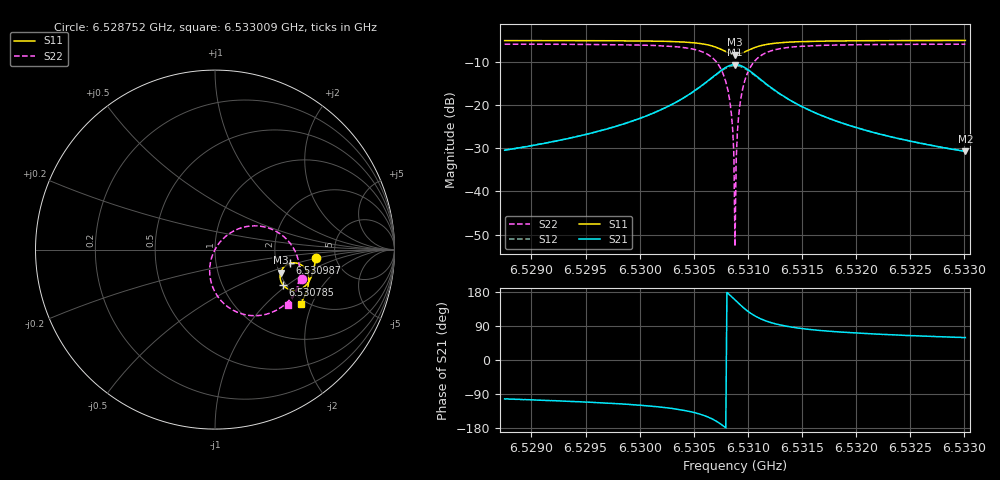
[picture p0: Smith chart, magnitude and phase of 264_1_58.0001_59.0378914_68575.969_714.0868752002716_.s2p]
#  HZ  S  RI  R  50.00
! Rohde & Schwarz Vector Network Analyzer
! Rohde-Schwarz,ZNB20-2Port,1311601062101988,3.16
! Created: UTC 3/21/2024, 1:02:05 AM
! freq[Hz]  re:S11  im:S11  re:S21  im:S21  re:S12  im:S12  re:S22  im:S22
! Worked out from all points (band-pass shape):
!   401 points, 6.528752 GHz to 6.533009 GHz, reference 50 ohm
!   highest |S21| = -10.56 dB at 6.53088 GHz (marker M1); lowest = -30.7 dB at 6.533009 GHz (marker M2)
!   |S21| within 3 dB of the highest: 6.530668 GHz to 6.531094 GHz (425.6 kHz wide, 0.00652 % of centre)
!   lowest |S11| = -8.2 dB at 6.53088 GHz (marker M3), VSWR 2.27, Z = 101 - j30.7 ohm
!   |S11| at or under -10 dB: nowhere
!   |S22| runs from -52.7 to -5.8 dB; largest |S21 - S12| = 0.012
!   S11 on the Smith chart (normalised r, x): 6.528752 GHz: 3.50, -0.48; 6.530785 GHz: 1.92, -0.92; 6.530987 GHz: 2.38, -0.44; 6.533009 GHz: 1.87, -1.65
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6.5287518e9  0.5601 -0.0466  -0.00661 -0.0294  -0.00723 -0.0293  0.484 -0.1639
6.5294649e9  0.5511 -0.1058  -0.0156 -0.0419  -0.0165 -0.0416  0.4536 -0.2283
6.530178e9  0.5242 -0.1759  -0.0481 -0.0719  -0.0501 -0.0706  0.3741 -0.3178
6.5306038e9  0.4558 -0.2262  -0.1524 -0.0974  -0.1548 -0.0912  0.174 -0.3639
6.5307102e9  0.412 -0.2219  -0.2198 -0.0721  -0.2193 -0.0629  0.0604 -0.3103
6.5307847e9  0.3779 -0.1959  -0.2696 -0.0155  -0.2642 -0.00591  -0.0136 -0.2067
6.5308166e9  0.3674 -0.1767  -0.2828 0.0219  -0.275 0.0303  -0.0285 -0.1425
6.5308379e9  0.3635 -0.1614  -0.2862 0.0499  -0.277 0.0572  -0.0288 -0.0956
6.5308486e9  0.3628 -0.1534  -0.2857 0.0647  -0.2761 0.071  -0.0255 -0.0716
6.5308592e9  0.3627 -0.1451  -0.2839 0.0795  -0.274 0.085  -0.0198 -0.0478
6.5308698e9  0.3637 -0.137  -0.2806 0.094  -0.2703 0.0987  -0.0118 -0.0246
6.5308805e9  0.3655 -0.1289  -0.2758 0.1085  -0.2654 0.1121  -0.00122 -0.00198
6.5308911e9  0.3682 -0.121  -0.2696 0.1223  -0.2591 0.125  0.0112 0.0195
6.5309018e9  0.3718 -0.1137  -0.2621 0.1355  -0.2518 0.1372  0.0257 0.0394
6.5309124e9  0.3762 -0.1067  -0.2534 0.1475  -0.2433 0.1484  0.0421 0.0577
6.5309337e9  0.3865 -0.0944  -0.2332 0.1686  -0.224 0.1681  0.0786 0.0885
6.5309869e9  0.4183 -0.0765  -0.1751 0.1998  -0.1685 0.1971  0.1799 0.1292
6.5310614e9  0.46 -0.0763  -0.1024 0.2021  -0.0988 0.1993  0.3019 0.1188
6.5311679e9  0.4964 -0.0979  -0.0396 0.1724  -0.0378 0.1708  0.403 0.0535
6.5315936e9  0.5222 -0.1767  0.0149 0.0834  0.0159 0.0831  0.4718 -0.1334
6.5323067e9  0.5035 -0.2487  0.0171 0.04  0.0178 0.0397  0.4428 -0.2476
6.5330092e9  0.477 -0.3011  0.0149 0.025  0.0155 0.0249  0.4074 -0.3075
